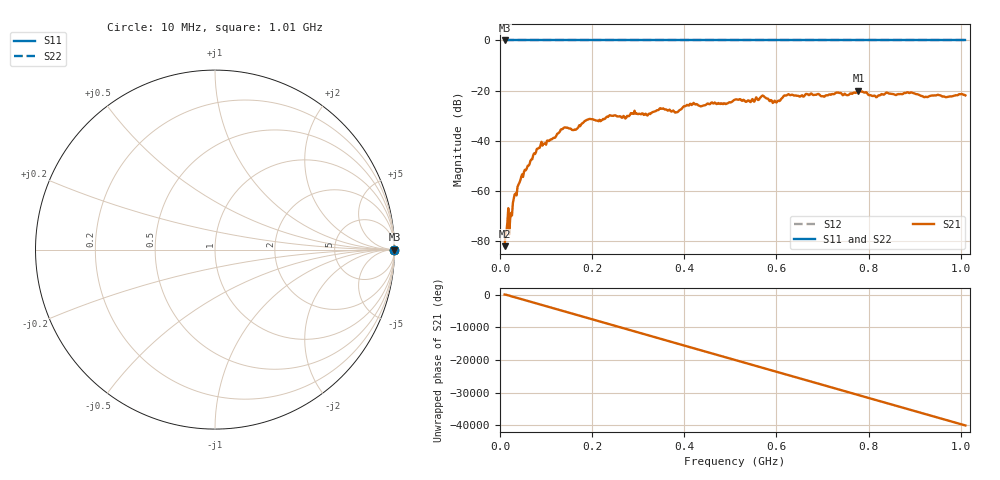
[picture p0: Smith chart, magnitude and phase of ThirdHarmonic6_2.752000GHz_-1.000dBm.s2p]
! 8/17/2025 6:53:40 AM
! C:\ANRITSUVNA\TEMP\TEMP.S2P
! CHANNEL.1
! TR.MEASUREMENT
! RAW.DATA
! RF.CORRECTION.OFF
! AVERAGING.OFF
! IF.BANDWIDTH: 5KHZ
! SWEEPTYPE:  FREQ.SWEEP(Linear)
! Reference Plane Port Info
! PORT:  PORT1  PORT2
! DISTANCE:  0  m  0  m
! TIME:  0  s  0  s
! PHASE.OFFSET:  0  deg.  0  deg.
! LOSS:  0  dB  0  dB
! REF.LOSS:  0  dB  0  dB
! REF.FREQ:  0  Hz  0  Hz
! Power Info
! POWER:  -20  dBm  -20  dBm
! EFF.POWER:  -20  dBm  -20  dBm
! SOURCE.ATTEN:  0  dB  0  dB
! TEST.ATTEN:  0  dB  0  dB
# GHZ S RI R 50.0
! FREQ.GHZ  S11RE  S11IM  S21RE  S21IM  S12RE  S12IM  S22RE  S22IM
!; PortSelection: Port_12
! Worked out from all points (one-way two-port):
!   501 points, 10 MHz to 1.01 GHz, reference 50 ohm
!   highest |S21| = -20.08 dB at 778 MHz (marker M1); lowest = -82.1 dB at 10 MHz (marker M2)
!   lowest |S11| = 0.0 dB at 10 MHz (marker M3)
!   |S11| at or under -10 dB: nowhere
!   |S22| runs from 0.0 to 0.0 dB; largest |S21 - S12| = 1.1
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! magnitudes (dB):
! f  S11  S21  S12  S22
! 10 MHz  0.0  -82.1  0.0  0.0
! 14 MHz  0.0  -76.1  0.0  0.0
! 24 MHz  0.0  -68.8  0.0  0.0
! 32 MHz  0.0  -61.4  0.0  0.0
! 42 MHz  0.0  -56.8  0.0  0.0
! 76 MHz  0.0  -45.3  0.0  0.0
! 136 MHz  0.0  -35.4  0.0  0.0
! 162 MHz  0.0  -35.6  0.0  0.0
! 178 MHz  0.0  -33.1  0.0  0.0
! 192 MHz  0.0  -31.5  0.0  0.0
! 344 MHz  0.0  -27.8  0.0  0.0
! 382 MHz  0.0  -28.7  0.0  0.0
! 416 MHz  0.0  -25.8  0.0  0.0
! 510 MHz  0.0  -23.6  0.0  0.0
! 570 MHz  0.0  -22.0  0.0  0.0
! 596 MHz  0.0  -24.0  0.0  0.0
! 622 MHz  0.0  -21.9  0.0  0.0
! 678 MHz  0.0  -21.6  0.0  0.0
! 778 MHz  0.0  -20.1  0.0  0.0
! 814 MHz  0.0  -22.1  0.0  0.0
! 844 MHz  0.0  -21.2  0.0  0.0
! 1.01 GHz  0.0  -21.9  0.0  0.0
